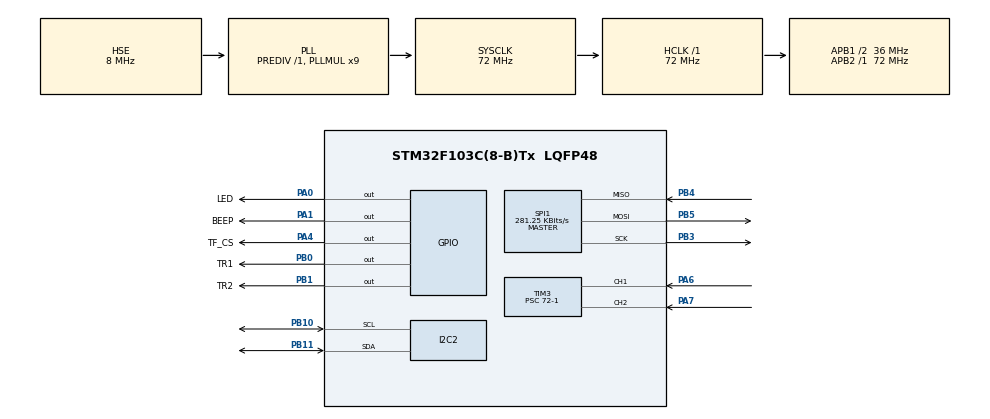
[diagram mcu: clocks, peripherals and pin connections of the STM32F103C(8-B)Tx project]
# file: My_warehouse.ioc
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FATFS._FS_REENTRANT=0
FREERTOS.Mutexes01=peopleMutex,Dynamic,NULL,Available;measureMutex,Dynamic,NULL,Available
FREERTOS.Queues01=EventQueue,10,uint32_t,0,Dynamic,NULL,NULL
FREERTOS.Tasks01=InSensorTask,32,256,StartInSensorTask,Default,NULL,Dynamic,NULL,NULL;OutSensorTask,32,256,StartOutSensorTask,Default,NULL,Dynamic,NULL,NULL;PeopleDisplayTa,24,256,StartPeopleDisplayTask,Default,NULL,Dynamic,NULL,NULL;RTCTask,8,128,StartRTCTask,Default,NULL,Dynamic,NULL,NULL;TFCardTask,16,1024,StartTFCardTask,Default,NULL,Dynamic,NULL,NULL
FREERTOS.configTOTAL_HEAP_SIZE=10240
Mcu.Family=STM32F1
Mcu.Name=STM32F103C(8-B)Tx
Mcu.Package=LQFP48
NVIC.PriorityGroup=NVIC_PRIORITYGROUP_4
NVIC.TIM1_UP_IRQn=true\:15\:0\:false\:false\:true\:false\:false\:true\:true
NVIC.TIM3_IRQn=true\:5\:0\:true\:false\:true\:true\:true\:true\:true
NVIC.TimeBase=TIM1_UP_IRQn
NVIC.TimeBaseIP=TIM1
PA0-WKUP.GPIO_Label=LED
PA0-WKUP.PinState=GPIO_PIN_SET
PA0-WKUP.Signal=GPIO_Output
PA1.GPIO_Label=BEEP
PA1.Signal=GPIO_Output
PA13.Mode=Serial_Wire
PA13.Signal=SYS_JTMS-SWDIO
PA14.Mode=Serial_Wire
PA14.Signal=SYS_JTCK-SWCLK
PA4.GPIO_Label=TF_CS
PA4.GPIO_Speed=GPIO_SPEED_FREQ_HIGH
PA4.PinState=GPIO_PIN_SET
PA4.Signal=GPIO_Output
PA6.Signal=S_TIM3_CH1
PA7.Signal=S_TIM3_CH2
PB0.GPIO_Label=TR1
PB0.GPIO_ModeDefaultOutputPP=GPIO_MODE_OUTPUT_PP
PB0.Signal=GPIO_Output
PB1.GPIO_Label=TR2
PB1.GPIO_ModeDefaultOutputPP=GPIO_MODE_OUTPUT_PP
PB1.Signal=GPIO_Output
PB10.Mode=I2C
PB10.Signal=I2C2_SCL
PB11.Mode=I2C
PB11.Signal=I2C2_SDA
PB3.Mode=Full_Duplex_Master
PB3.Signal=SPI1_SCK
PB4.Mode=Full_Duplex_Master
PB4.Signal=SPI1_MISO
PB5.Mode=Full_Duplex_Master
PB5.Signal=SPI1_MOSI
PD0-OSC_IN.Mode=HSE-External-Oscillator
PD0-OSC_IN.Signal=RCC_OSC_IN
PD1-OSC_OUT.Mode=HSE-External-Oscillator
PD1-OSC_OUT.Signal=RCC_OSC_OUT
ProjectManager.HeapSize=0x200
ProjectManager.StackSize=0x400
ProjectManager.TargetToolchain=MDK-ARM V5.32
RCC.AHBFreq_Value=72000000
RCC.APB1CLKDivider=RCC_HCLK_DIV2
RCC.APB1Freq_Value=36000000
RCC.APB1TimFreq_Value=72000000
RCC.APB2Freq_Value=72000000
RCC.APB2TimFreq_Value=72000000
RCC.HCLKFreq_Value=72000000
RCC.PLLMUL=RCC_PLL_MUL9
RCC.PLLSourceVirtual=RCC_PLLSOURCE_HSE
RCC.RTCClockSelection=RCC_RTCCLKSOURCE_HSE_DIV128
RCC.SYSCLKFreq_VALUE=72000000
RCC.SYSCLKSource=RCC_SYSCLKSOURCE_PLLCLK
RCC.USBFreq_Value=72000000
SH.S_TIM3_CH1.0=TIM3_CH1,Input_Capture1_from_TI1
SH.S_TIM3_CH2.0=TIM3_CH2,Input_Capture2_from_TI2
SPI1.BaudRatePrescaler=SPI_BAUDRATEPRESCALER_256
SPI1.CalculateBaudRate=281.25 KBits/s
SPI1.Direction=SPI_DIRECTION_2LINES
SPI1.Mode=SPI_MODE_MASTER
SPI1.VirtualType=VM_MASTER
TIM3.Channel-Input_Capture1_from_TI1=TIM_CHANNEL_1
TIM3.Channel-Input_Capture2_from_TI2=TIM_CHANNEL_2
TIM3.Prescaler=72-1
VP_FATFS_VS_Generic.Mode=User_defined
VP_FREERTOS_VS_CMSIS_V2.Mode=CMSIS_V2
VP_RTC_No_RTC_Output.Mode=RTC_OUT_NO
VP_RTC_VS_RTC_Activate.Mode=RTC_Enabled
VP_RTC_VS_RTC_Calendar.Mode=RTC_Calendar
VP_SYS_VS_tim1.Mode=TIM1
board=custom

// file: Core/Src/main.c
/* USER CODE BEGIN Header */
/**
  ******************************************************************************
  * @file           : main.c
  * @brief          : Main program body
  ******************************************************************************
  * @attention
  *
  * Copyright (c) 2026 STMicroelectronics.
  * All rights reserved.
  *
  * This software is licensed under terms that can be found in the LICENSE file
  * in the root directory of this software component.
  * If no LICENSE file comes with this software, it is provided AS-IS.
  *
  ******************************************************************************
  */
/* USER CODE END Header */
#include "main.h"
#include "cmsis_os.h"
#include "fatfs.h"

/* USER CODE BEGIN Includes */
#include <string.h>
#include "task.h"
#include "oled_user.h"
/* USER CODE END Includes */

/* USER CODE BEGIN PTD */
typedef struct
{
  uint8_t event;
  int32_t people;
  uint8_t year;
  uint8_t month;
  uint8_t date;
  uint8_t hour;
  uint8_t minute;
  uint8_t second;
} LogItem_t;

typedef struct
{
  uint8_t year;
  uint8_t month;
  uint8_t date;
  uint8_t hour;
  uint8_t minute;
  uint8_t second;
  uint8_t weekday;
} RtcSnapshot_t;
/* USER CODE END PTD */

/* USER CODE BEGIN PD */
#define MAX_PEOPLE                 6

#define EVENT_IN                   1U
#define EVENT_OUT                  2U
#define EVENT_DENIED               3U

#define SENSOR_IN                  0U
#define SENSOR_OUT                 1U
#define SENSOR_ECHO_READY_FLAG     0x00000001U
#define DISTANCE_MIN_CM            2.0f
#define DISTANCE_THRESHOLD_CM      10.0f
#define SENSOR_SAMPLE_PERIOD_MS    120U
#define SENSOR_RELEASE_SAMPLES     2U
#define EVENT_COOLDOWN_MS          600U

/* Change these values before the first programming if another start time is needed. */
#define RTC_SET_YEAR               2026U
#define RTC_SET_MONTH              8U
#define RTC_SET_DATE               1U
#define RTC_SET_HOUR               14U
#define RTC_SET_MINUTE             29U
#define RTC_SET_SECOND             0U
#define RTC_SET_WEEKDAY            RTC_WEEKDAY_SATURDAY
/* Change this value after editing RTC_SET_* to apply the new time once. */
#define RTC_BKP_MAGIC              0xA55CU
#define RTC_BKP_DATE_REGISTER      RTC_BKP_DR2
#define RTC_BKP_WEEKDAY_REGISTER   RTC_BKP_DR3

#define LOG_BUFFER_LENGTH          16U
#define TF_RETRY_PERIOD_MS         5000U
/* Keep this at 0 until the TF module is connected. Change it to 1 to enable logging. */
#define TF_CARD_ENABLED            0U

#define LED_ON()    HAL_GPIO_WritePin(LED_GPIO_Port, LED_Pin, GPIO_PIN_RESET)
#define LED_OFF()   HAL_GPIO_WritePin(LED_GPIO_Port, LED_Pin, GPIO_PIN_SET)
#define BEEP_ON()   HAL_GPIO_WritePin(BEEP_GPIO_Port, BEEP_Pin, GPIO_PIN_SET)
#define BEEP_OFF()  HAL_GPIO_WritePin(BEEP_GPIO_Port, BEEP_Pin, GPIO_PIN_RESET)
/* USER CODE END PD */

I2C_HandleTypeDef hi2c2;

RTC_HandleTypeDef hrtc;

SPI_HandleTypeDef hspi1;

TIM_HandleTypeDef htim3;

/* Definitions for InSensorTask */
osThreadId_t InSensorTaskHandle;
const osThreadAttr_t InSensorTask_attributes = {
  .name = "InSensorTask",
  .stack_size = 256 * 4,
  .priority = (osPriority_t) osPriorityAboveNormal,
};
/* Definitions for OutSensorTask */
osThreadId_t OutSensorTaskHandle;
const osThreadAttr_t OutSensorTask_attributes = {
  .name = "OutSensorTask",
  .stack_size = 256 * 4,
  .priority = (osPriority_t) osPriorityAboveNormal,
};
/* Definitions for PeopleDisplayTa */
osThreadId_t PeopleDisplayTaHandle;
const osThreadAttr_t PeopleDisplayTa_attributes = {
  .name = "PeopleDisplayTa",
  .stack_size = 256 * 4,
  .priority = (osPriority_t) osPriorityNormal,
};
/* Definitions for RTCTask */
osThreadId_t RTCTaskHandle;
const osThreadAttr_t RTCTask_attributes = {
  .name = "RTCTask",
  .stack_size = 128 * 4,
  .priority = (osPriority_t) osPriorityLow,
};
/* Definitions for TFCardTask */
osThreadId_t TFCardTaskHandle;
const osThreadAttr_t TFCardTask_attributes = {
  .name = "TFCardTask",
  .stack_size = 1024 * 4,
  .priority = (osPriority_t) osPriorityBelowNormal,
};
/* Definitions for EventQueue */
osMessageQueueId_t EventQueueHandle;
const osMessageQueueAttr_t EventQueue_attributes = {
  .name = "EventQueue"
};
/* Definitions for peopleMutex */
osMutexId_t peopleMutexHandle;
const osMutexAttr_t peopleMutex_attributes = {
  .name = "peopleMutex"
};
/* Definitions for measureMutex */
osMutexId_t measureMutexHandle;
const osMutexAttr_t measureMutex_attributes = {
  .name = "measureMutex"
};
/* USER CODE BEGIN PV */
static int32_t current_people = 0;

static volatile uint8_t ic_state[2] = {0U, 0U};
static volatile uint16_t ic_rise[2] = {0U, 0U};
static volatile float distance_cm[2] = {-1.0f, -1.0f};

static RtcSnapshot_t rtc_snapshot = {
  (uint8_t)(RTC_SET_YEAR - 2000U),
  (uint8_t)RTC_SET_MONTH,
  (uint8_t)RTC_SET_DATE,
  (uint8_t)RTC_SET_HOUR,
  (uint8_t)RTC_SET_MINUTE,
  (uint8_t)RTC_SET_SECOND,
  (uint8_t)RTC_SET_WEEKDAY
};
static volatile uint32_t rtc_fat_timestamp = 0U;

#if TF_CARD_ENABLED != 0U
static LogItem_t log_buffer[LOG_BUFFER_LENGTH];
static uint8_t log_head = 0U;
static uint8_t log_tail = 0U;
static uint8_t log_count = 0U;
#endif
/* USER CODE END PV */

void SystemClock_Config(void);
static void MX_GPIO_Init(void);
static void MX_RTC_Init(void);
static void MX_SPI1_Init(void);
static void MX_TIM3_Init(void);
static void MX_I2C2_Init(void);
void StartInSensorTask(void *argument);
void StartOutSensorTask(void *argument);
void StartPeopleDisplayTask(void *argument);
void StartRTCTask(void *argument);
void StartTFCardTask(void *argument);

/* USER CODE BEGIN PFP */
static void RTC_SetUserTime(void);
static void RTC_SaveDateToBackup(const RTC_DateTypeDef *date);
static uint8_t RTC_RestoreDateFromBackup(void);
static void RTC_UpdateCachedTime(void);
static void RTC_GetCachedTime(RtcSnapshot_t *snapshot);
static uint32_t RTC_PackFatTime(const RtcSnapshot_t *snapshot);
static const char *RTC_GetWeekdayText(uint8_t weekday);
#if TF_CARD_ENABLED != 0U
static void LogBuffer_Push(const LogItem_t *item);
static uint8_t LogBuffer_Pop(LogItem_t *item);
static char *Text_Append(char *destination, const char *source);
static char *Text_AppendPeople(char *destination, int32_t people);
static uint16_t FormatLogLine(char *line, const RtcSnapshot_t *rtc,
                              const char *event_text, int32_t people);
#endif
static char *Text_AppendTwoDigits(char *destination, uint8_t value);
static void Buzzer_BeepShort(void);
static void DoorLock_Update(int32_t people);
static void Display_Refresh(void);
static void HCSR04_Trig(uint8_t sensor);
static float HCSR04_ReadCm(uint8_t sensor);
static void ProcessSensorSample(uint8_t sensor, uint32_t event,
                                uint8_t *occupied, uint8_t *release_count,
                                uint32_t *last_event_tick);
/* USER CODE END PFP */

/* USER CODE BEGIN 0 */
static uint32_t RTC_PackFatTime(const RtcSnapshot_t *snapshot)
{
  uint32_t full_year = 2000U + snapshot->year;

  if (full_year < 1980U)
  {
    full_year = 1980U;
  }
  if (full_year > 2107U)
  {
    full_year = 2107U;
  }

  return ((full_year - 1980U) << 25)
       | ((uint32_t)snapshot->month << 21)
       | ((uint32_t)snapshot->date << 16)
       | ((uint32_t)snapshot->hour << 11)
       | ((uint32_t)snapshot->minute << 5)
       | ((uint32_t)snapshot->second >> 1);
}

static void RTC_SaveDateToBackup(const RTC_DateTypeDef *date)
{
  uint32_t packed_date = ((uint32_t)date->Year << 9)
                       | ((uint32_t)date->Month << 5)
                       | (uint32_t)date->Date;

  if (HAL_RTCEx_BKUPRead(&hrtc, RTC_BKP_DATE_REGISTER) != packed_date)
  {
    HAL_RTCEx_BKUPWrite(&hrtc, RTC_BKP_DATE_REGISTER, packed_date);
  }
  if (HAL_RTCEx_BKUPRead(&hrtc, RTC_BKP_WEEKDAY_REGISTER) != date->WeekDay)
  {
    HAL_RTCEx_BKUPWrite(&hrtc, RTC_BKP_WEEKDAY_REGISTER, date->WeekDay);
  }
}

static uint8_t RTC_RestoreDateFromBackup(void)
{
  uint32_t packed_date = HAL_RTCEx_BKUPRead(&hrtc, RTC_BKP_DATE_REGISTER);
  uint8_t year = (uint8_t)((packed_date >> 9) & 0x7FU);
  uint8_t month = (uint8_t)((packed_date >> 5) & 0x0FU);
  uint8_t date = (uint8_t)(packed_date & 0x1FU);
  uint8_t weekday = (uint8_t)HAL_RTCEx_BKUPRead(&hrtc,
                                                RTC_BKP_WEEKDAY_REGISTER);

  if ((year > 99U) || (month < 1U) || (month > 12U) ||
      (date < 1U) || (date > 31U) ||
      (weekday < RTC_WEEKDAY_MONDAY) ||
      (weekday > RTC_WEEKDAY_SUNDAY))
  {
    return 0U;
  }

  hrtc.DateToUpdate.Year = year;
  hrtc.DateToUpdate.Month = month;
  hrtc.DateToUpdate.Date = date;
  hrtc.DateToUpdate.WeekDay = weekday;
  return 1U;
}

static void RTC_SetUserTime(void)
{
  RTC_TimeTypeDef time = {0};
  RTC_DateTypeDef date = {0};

  time.Hours = (uint8_t)RTC_SET_HOUR;
  time.Minutes = (uint8_t)RTC_SET_MINUTE;
  time.Seconds = (uint8_t)RTC_SET_SECOND;

  date.WeekDay = RTC_SET_WEEKDAY;
  date.Year = (uint8_t)(RTC_SET_YEAR - 2000U);
  date.Month = (uint8_t)RTC_SET_MONTH;
  date.Date = (uint8_t)RTC_SET_DATE;

  if (HAL_RTC_SetTime(&hrtc, &time, RTC_FORMAT_BIN) != HAL_OK)
  {
    Error_Handler();
  }
  if (HAL_RTC_SetDate(&hrtc, &date, RTC_FORMAT_BIN) != HAL_OK)
  {
    Error_Handler();
  }

  RTC_SaveDateToBackup(&date);
  HAL_RTCEx_BKUPWrite(&hrtc, RTC_BKP_DR1, RTC_BKP_MAGIC);
}

static void RTC_UpdateCachedTime(void)
{
  RTC_TimeTypeDef time = {0};
  RTC_DateTypeDef date = {0};
  RtcSnapshot_t next;

  if (HAL_RTC_GetTime(&hrtc, &time, RTC_FORMAT_BIN) != HAL_OK)
  {
    return;
  }
  /* On STM32F1 the date must be read after the time to unlock the shadow registers. */
  if (HAL_RTC_GetDate(&hrtc, &date, RTC_FORMAT_BIN) != HAL_OK)
  {
    return;
  }

  next.year = date.Year;
  next.month = date.Month;
  next.date = date.Date;
  next.hour = time.Hours;
  next.minute = time.Minutes;
  next.second = time.Seconds;
  next.weekday = date.WeekDay;

  RTC_SaveDateToBackup(&date);

  taskENTER_CRITICAL();
  rtc_snapshot = next;
  rtc_fat_timestamp = RTC_PackFatTime(&next);
  taskEXIT_CRITICAL();
}

static void RTC_GetCachedTime(RtcSnapshot_t *snapshot)
{
  taskENTER_CRITICAL();
  *snapshot = rtc_snapshot;
  taskEXIT_CRITICAL();
}

static const char *RTC_GetWeekdayText(uint8_t weekday)
{
  switch (weekday)
  {
    case RTC_WEEKDAY_MONDAY:    return "MON";
    case RTC_WEEKDAY_TUESDAY:   return "TUE";
    case RTC_WEEKDAY_WEDNESDAY: return "WED";
    case RTC_WEEKDAY_THURSDAY:  return "THU";
    case RTC_WEEKDAY_FRIDAY:    return "FRI";
    case RTC_WEEKDAY_SATURDAY:  return "SAT";
    case RTC_WEEKDAY_SUNDAY:    return "SUN";
    default:                    return "---";
  }
}

uint32_t App_GetFatTimestamp(void)
{
  return rtc_fat_timestamp;
}

#if TF_CARD_ENABLED != 0U
static void LogBuffer_Push(const LogItem_t *item)
{
  taskENTER_CRITICAL();
  if (log_count >= LOG_BUFFER_LENGTH)
  {
    log_tail = (uint8_t)((log_tail + 1U) % LOG_BUFFER_LENGTH);
    log_count--;
  }
  log_buffer[log_head] = *item;
  log_head = (uint8_t)((log_head + 1U) % LOG_BUFFER_LENGTH);
  log_count++;
  taskEXIT_CRITICAL();
}

static uint8_t LogBuffer_Pop(LogItem_t *item)
{
  uint8_t available = 0U;

  taskENTER_CRITICAL();
  if (log_count > 0U)
  {
    *item = log_buffer[log_tail];
    log_tail = (uint8_t)((log_tail + 1U) % LOG_BUFFER_LENGTH);
    log_count--;
    available = 1U;
  }
  taskEXIT_CRITICAL();

  return available;
}

static char *Text_Append(char *destination, const char *source)
{
  while (*source != '\0')
  {
    *destination++ = *source++;
  }
  return destination;
}
#endif

static char *Text_AppendTwoDigits(char *destination, uint8_t value)
{
  *destination++ = (char)('0' + ((value / 10U) % 10U));
  *destination++ = (char)('0' + (value % 10U));
  return destination;
}

#if TF_CARD_ENABLED != 0U
static char *Text_AppendPeople(char *destination, int32_t people)
{
  if (people < 0)
  {
    *destination++ = '-';
    people = -people;
  }

  if (people >= 10)
  {
    *destination++ = (char)('0' + ((people / 10) % 10));
  }
  *destination++ = (char)('0' + (people % 10));
  return destination;
}

static uint16_t FormatLogLine(char *line, const RtcSnapshot_t *rtc,
                              const char *event_text, int32_t people)
{
  char *position = line;

  *position++ = '2';
  *position++ = '0';
  position = Text_AppendTwoDigits(position, rtc->year);
  *position++ = '-';
  position = Text_AppendTwoDigits(position, rtc->month);
  *position++ = '-';
  position = Text_AppendTwoDigits(position, rtc->date);
  *position++ = ' ';
  position = Text_AppendTwoDigits(position, rtc->hour);
  *position++ = ':';
  position = Text_AppendTwoDigits(position, rtc->minute);
  *position++ = ':';
  position = Text_AppendTwoDigits(position, rtc->second);
  *position++ = ',';
  position = Text_Append(position, event_text);
  *position++ = ',';
  position = Text_AppendPeople(position, people);
  *position++ = '\r';
  *position++ = '\n';
  *position = '\0';

  return (uint16_t)(position - line);
}
#endif
/* USER CODE END 0 */

int main(void)
{

  /* MCU Configuration--------------------------------------------------------*/

  /* Reset of all peripherals, Initializes the Flash interface and the Systick. */
  HAL_Init();

  /* Configure the system clock */
  SystemClock_Config();

  /* Initialize all configured peripherals */
  MX_GPIO_Init();
  MX_RTC_Init();
  MX_SPI1_Init();
  MX_TIM3_Init();
  MX_I2C2_Init();
  MX_FATFS_Init();
  /* USER CODE BEGIN 2 */
  LED_OFF();
  BEEP_OFF();
  OLED_Init();
  /* USER CODE END 2 */

  /* Init scheduler */
  osKernelInitialize();
  /* Create the mutex(es) */
  /* creation of peopleMutex */
  peopleMutexHandle = osMutexNew(&peopleMutex_attributes);

  /* creation of measureMutex */
  measureMutexHandle = osMutexNew(&measureMutex_attributes);

  /* Create the queue(s) */
  /* creation of EventQueue */
  EventQueueHandle = osMessageQueueNew (10, sizeof(uint32_t), &EventQueue_attributes);

  /* Create the thread(s) */
  /* creation of InSensorTask */
  InSensorTaskHandle = osThreadNew(StartInSensorTask, NULL, &InSensorTask_attributes);

  /* creation of OutSensorTask */
  OutSensorTaskHandle = osThreadNew(StartOutSensorTask, NULL, &OutSensorTask_attributes);

  /* creation of PeopleDisplayTa */
  PeopleDisplayTaHandle = osThreadNew(StartPeopleDisplayTask, NULL, &PeopleDisplayTa_attributes);

  /* creation of RTCTask */
  RTCTaskHandle = osThreadNew(StartRTCTask, NULL, &RTCTask_attributes);

  /* creation of TFCardTask */
  TFCardTaskHandle = osThreadNew(StartTFCardTask, NULL, &TFCardTask_attributes);

  /* USER CODE BEGIN RTOS_THREADS */
  if ((peopleMutexHandle == NULL) || (measureMutexHandle == NULL) ||
      (EventQueueHandle == NULL) || (InSensorTaskHandle == NULL) ||
      (OutSensorTaskHandle == NULL) || (PeopleDisplayTaHandle == NULL) ||
      (RTCTaskHandle == NULL) || (TFCardTaskHandle == NULL))
  {
    Error_Handler();
  }
  /* USER CODE END RTOS_THREADS */

  /* Start scheduler */
  osKernelStart();

  /* We should never get here as control is now taken by the scheduler */

  /* Infinite loop */
  while (1)
  {

  }
}

void SystemClock_Config(void)
{
  RCC_OscInitTypeDef RCC_OscInitStruct = {0};
  RCC_ClkInitTypeDef RCC_ClkInitStruct = {0};
  RCC_PeriphCLKInitTypeDef PeriphClkInit = {0};

  /** Initializes the RCC Oscillators according to the specified parameters
  * in the RCC_OscInitTypeDef structure.
  */
  RCC_OscInitStruct.OscillatorType = RCC_OSCILLATORTYPE_HSE;
  RCC_OscInitStruct.HSEState = RCC_HSE_ON;
  RCC_OscInitStruct.HSEPredivValue = RCC_HSE_PREDIV_DIV1;
  RCC_OscInitStruct.HSIState = RCC_HSI_ON;
  RCC_OscInitStruct.PLL.PLLState = RCC_PLL_ON;
  RCC_OscInitStruct.PLL.PLLSource = RCC_PLLSOURCE_HSE;
  RCC_OscInitStruct.PLL.PLLMUL = RCC_PLL_MUL9;
  if (HAL_RCC_OscConfig(&RCC_OscInitStruct) != HAL_OK)
  {
    Error_Handler();
  }

  /** Initializes the CPU, AHB and APB buses clocks
  */
  RCC_ClkInitStruct.ClockType = RCC_CLOCKTYPE_HCLK|RCC_CLOCKTYPE_SYSCLK
                              |RCC_CLOCKTYPE_PCLK1|RCC_CLOCKTYPE_PCLK2;
  RCC_ClkInitStruct.SYSCLKSource = RCC_SYSCLKSOURCE_PLLCLK;
  RCC_ClkInitStruct.AHBCLKDivider = RCC_SYSCLK_DIV1;
  RCC_ClkInitStruct.APB1CLKDivider = RCC_HCLK_DIV2;
  RCC_ClkInitStruct.APB2CLKDivider = RCC_HCLK_DIV1;

  if (HAL_RCC_ClockConfig(&RCC_ClkInitStruct, FLASH_LATENCY_2) != HAL_OK)
  {
    Error_Handler();
  }
  PeriphClkInit.PeriphClockSelection = RCC_PERIPHCLK_RTC;
  PeriphClkInit.RTCClockSelection = RCC_RTCCLKSOURCE_HSE_DIV128;
  if (HAL_RCCEx_PeriphCLKConfig(&PeriphClkInit) != HAL_OK)
  {
    Error_Handler();
  }
}

static void MX_I2C2_Init(void)
{

  hi2c2.Instance = I2C2;
  hi2c2.Init.ClockSpeed = 100000;
  hi2c2.Init.DutyCycle = I2C_DUTYCYCLE_2;
  hi2c2.Init.OwnAddress1 = 0;
  hi2c2.Init.AddressingMode = I2C_ADDRESSINGMODE_7BIT;
  hi2c2.Init.DualAddressMode = I2C_DUALADDRESS_DISABLE;
  hi2c2.Init.OwnAddress2 = 0;
  hi2c2.Init.GeneralCallMode = I2C_GENERALCALL_DISABLE;
  hi2c2.Init.NoStretchMode = I2C_NOSTRETCH_DISABLE;
  if (HAL_I2C_Init(&hi2c2) != HAL_OK)
  {
    Error_Handler();
  }

}

static void MX_RTC_Init(void)
{

  RTC_TimeTypeDef sTime = {0};
  RTC_DateTypeDef DateToUpdate = {0};

  /** Initialize RTC Only
  */
  hrtc.Instance = RTC;
  hrtc.Init.AsynchPrediv = RTC_AUTO_1_SECOND;
  hrtc.Init.OutPut = RTC_OUTPUTSOURCE_NONE;
  if (HAL_RTC_Init(&hrtc) != HAL_OK)
  {
    Error_Handler();
  }

  /* USER CODE BEGIN Check_RTC_BKUP */
  if ((HAL_RTCEx_BKUPRead(&hrtc, RTC_BKP_DR1) != RTC_BKP_MAGIC) ||
      (RTC_RestoreDateFromBackup() == 0U))
  {
  /* USER CODE END Check_RTC_BKUP */

  /** Initialize RTC and set the Time and Date
  */
  sTime.Hours = 0x0;
  sTime.Minutes = 0x0;
  sTime.Seconds = 0x0;

  if (HAL_RTC_SetTime(&hrtc, &sTime, RTC_FORMAT_BCD) != HAL_OK)
  {
    Error_Handler();
  }
  DateToUpdate.WeekDay = RTC_WEEKDAY_MONDAY;
  DateToUpdate.Month = RTC_MONTH_JANUARY;
  DateToUpdate.Date = 0x1;
  DateToUpdate.Year = 0x0;

  if (HAL_RTC_SetDate(&hrtc, &DateToUpdate, RTC_FORMAT_BCD) != HAL_OK)
  {
    Error_Handler();
  }
  /* USER CODE BEGIN RTC_Init 2 */
    RTC_SetUserTime();
  }
  /* USER CODE END RTC_Init 2 */

}

static void MX_SPI1_Init(void)
{

  /* SPI1 parameter configuration*/
  hspi1.Instance = SPI1;
  hspi1.Init.Mode = SPI_MODE_MASTER;
  hspi1.Init.Direction = SPI_DIRECTION_2LINES;
  hspi1.Init.DataSize = SPI_DATASIZE_8BIT;
  hspi1.Init.CLKPolarity = SPI_POLARITY_LOW;
  hspi1.Init.CLKPhase = SPI_PHASE_1EDGE;
  hspi1.Init.NSS = SPI_NSS_SOFT;
  hspi1.Init.BaudRatePrescaler = SPI_BAUDRATEPRESCALER_256;
  hspi1.Init.FirstBit = SPI_FIRSTBIT_MSB;
  hspi1.Init.TIMode = SPI_TIMODE_DISABLE;
  hspi1.Init.CRCCalculation = SPI_CRCCALCULATION_DISABLE;
  hspi1.Init.CRCPolynomial = 10;
  if (HAL_SPI_Init(&hspi1) != HAL_OK)
  {
    Error_Handler();
  }

}

static void MX_TIM3_Init(void)
{

  TIM_MasterConfigTypeDef sMasterConfig = {0};
  TIM_IC_InitTypeDef sConfigIC = {0};

  htim3.Instance = TIM3;
  htim3.Init.Prescaler = 72-1;
  htim3.Init.CounterMode = TIM_COUNTERMODE_UP;
  htim3.Init.Period = 65535;
  htim3.Init.ClockDivision = TIM_CLOCKDIVISION_DIV1;
  htim3.Init.AutoReloadPreload = TIM_AUTORELOAD_PRELOAD_DISABLE;
  if (HAL_TIM_IC_Init(&htim3) != HAL_OK)
  {
    Error_Handler();
  }
  sMasterConfig.MasterOutputTrigger = TIM_TRGO_RESET;
  sMasterConfig.MasterSlaveMode = TIM_MASTERSLAVEMODE_DISABLE;
  if (HAL_TIMEx_MasterConfigSynchronization(&htim3, &sMasterConfig) != HAL_OK)
  {
    Error_Handler();
  }
  sConfigIC.ICPolarity = TIM_INPUTCHANNELPOLARITY_RISING;
  sConfigIC.ICSelection = TIM_ICSELECTION_DIRECTTI;
  sConfigIC.ICPrescaler = TIM_ICPSC_DIV1;
  sConfigIC.ICFilter = 0;
  if (HAL_TIM_IC_ConfigChannel(&htim3, &sConfigIC, TIM_CHANNEL_1) != HAL_OK)
  {
    Error_Handler();
  }
  if (HAL_TIM_IC_ConfigChannel(&htim3, &sConfigIC, TIM_CHANNEL_2) != HAL_OK)
  {
    Error_Handler();
  }

}

static void MX_GPIO_Init(void)
{
  GPIO_InitTypeDef GPIO_InitStruct = {0};

  /* GPIO Ports Clock Enable */
  __HAL_RCC_GPIOD_CLK_ENABLE();
  __HAL_RCC_GPIOA_CLK_ENABLE();
  __HAL_RCC_GPIOB_CLK_ENABLE();

  /*Configure GPIO pin Output Level */
  HAL_GPIO_WritePin(GPIOA, LED_Pin|TF_CS_Pin, GPIO_PIN_SET);

  /*Configure GPIO pin Output Level */
  HAL_GPIO_WritePin(BEEP_GPIO_Port, BEEP_Pin, GPIO_PIN_RESET);

  /*Configure GPIO pin Output Level */
  HAL_GPIO_WritePin(GPIOB, TR1_Pin|TR2_Pin, GPIO_PIN_RESET);

  /*Configure GPIO pins : LED_Pin BEEP_Pin */
  GPIO_InitStruct.Pin = LED_Pin|BEEP_Pin;
  GPIO_InitStruct.Mode = GPIO_MODE_OUTPUT_PP;
  GPIO_InitStruct.Pull = GPIO_NOPULL;
  GPIO_InitStruct.Speed = GPIO_SPEED_FREQ_LOW;
  HAL_GPIO_Init(GPIOA, &GPIO_InitStruct);

  /*Configure GPIO pin : TF_CS_Pin */
  GPIO_InitStruct.Pin = TF_CS_Pin;
  GPIO_InitStruct.Mode = GPIO_MODE_OUTPUT_PP;
  GPIO_InitStruct.Pull = GPIO_NOPULL;
  GPIO_InitStruct.Speed = GPIO_SPEED_FREQ_HIGH;
  HAL_GPIO_Init(TF_CS_GPIO_Port, &GPIO_InitStruct);

  /*Configure GPIO pins : TR1_Pin TR2_Pin */
  GPIO_InitStruct.Pin = TR1_Pin|TR2_Pin;
  GPIO_InitStruct.Mode = GPIO_MODE_OUTPUT_PP;
  GPIO_InitStruct.Pull = GPIO_NOPULL;
  GPIO_InitStruct.Speed = GPIO_SPEED_FREQ_LOW;
  HAL_GPIO_Init(GPIOB, &GPIO_InitStruct);

}

/* USER CODE BEGIN 4 */
static void Buzzer_BeepShort(void)
{
  BEEP_ON();
  osDelay(80U);
  BEEP_OFF();
}

static void DoorLock_Update(int32_t people)
{
  if (people >= MAX_PEOPLE)
  {
    LED_ON();
  }
  else
  {
    LED_OFF();
  }
}

static void Display_Refresh(void)
{
  char people_line[12] = "People: 0/5";
  char time_line[9];
  char date_line[11];
  int32_t people;
  RtcSnapshot_t rtc;

  if (osMutexAcquire(peopleMutexHandle, osWaitForever) != osOK)
  {
    return;
  }
  people = current_people;
  (void)osMutexRelease(peopleMutexHandle);
  RTC_GetCachedTime(&rtc);

  OLED_Clear();
  people_line[8] = (char)('0' + (people % 10));
  people_line[10] = (char)('0' + MAX_PEOPLE);
  OLED_ShowString(9U, 0U, people_line);

  (void)Text_AppendTwoDigits(&time_line[0], rtc.hour);
  time_line[2] = ':';
  (void)Text_AppendTwoDigits(&time_line[3], rtc.minute);
  time_line[5] = ':';
  (void)Text_AppendTwoDigits(&time_line[6], rtc.second);
  time_line[8] = '\0';
  OLED_ShowString2x(18U, 30U, time_line);

  date_line[0] = '2';
  date_line[1] = '0';
  (void)Text_AppendTwoDigits(&date_line[2], rtc.year);
  date_line[4] = '/';
  (void)Text_AppendTwoDigits(&date_line[5], rtc.month);
  date_line[7] = '/';
  (void)Text_AppendTwoDigits(&date_line[8], rtc.date);
  date_line[10] = '\0';
  OLED_ShowString(0U, 7U, date_line);
  OLED_ShowString(66U, 7U, RTC_GetWeekdayText(rtc.weekday));

  OLED_Refresh();
}

static void HCSR04_Trig(uint8_t sensor)
{
  GPIO_TypeDef *port = (sensor == SENSOR_IN) ? TR1_GPIO_Port : TR2_GPIO_Port;
  uint16_t pin = (sensor == SENSOR_IN) ? TR1_Pin : TR2_Pin;
  volatile uint32_t delay_count;

  HAL_GPIO_WritePin(port, pin, GPIO_PIN_RESET);
  taskENTER_CRITICAL();
  HAL_GPIO_WritePin(port, pin, GPIO_PIN_SET);
  for (delay_count = 0U; delay_count < 900U; delay_count++)
  {
    __NOP();
  }
  HAL_GPIO_WritePin(port, pin, GPIO_PIN_RESET);
  taskEXIT_CRITICAL();
}

static float HCSR04_ReadCm(uint8_t sensor)
{
  uint32_t channel = (sensor == SENSOR_IN) ? TIM_CHANNEL_1 : TIM_CHANNEL_2;
  uint32_t flags;
  float result = -1.0f;

  if (osMutexAcquire(measureMutexHandle, osWaitForever) != osOK)
  {
    return -1.0f;
  }

  (void)osThreadFlagsClear(SENSOR_ECHO_READY_FLAG);
  ic_state[sensor] = 0U;
  distance_cm[sensor] = -1.0f;
  __HAL_TIM_SET_COUNTER(&htim3, 0U);
  __HAL_TIM_SET_CAPTUREPOLARITY(&htim3, channel,
                                TIM_INPUTCHANNELPOLARITY_RISING);

  if (HAL_TIM_IC_Start_IT(&htim3, channel) == HAL_OK)
  {
    HCSR04_Trig(sensor);
    flags = osThreadFlagsWait(SENSOR_ECHO_READY_FLAG, osFlagsWaitAny, 60U);
    if ((flags & SENSOR_ECHO_READY_FLAG) != 0U)
    {
      result = distance_cm[sensor];
    }
    (void)HAL_TIM_IC_Stop_IT(&htim3, channel);
  }

  (void)osMutexRelease(measureMutexHandle);
  return result;
}

static void ProcessSensorSample(uint8_t sensor, uint32_t event,
                                uint8_t *occupied, uint8_t *release_count,
                                uint32_t *last_event_tick)
{
  float distance = HCSR04_ReadCm(sensor);
  uint32_t now = osKernelGetTickCount();
  uint32_t cooldown_ticks = (EVENT_COOLDOWN_MS * osKernelGetTickFreq()) / 1000U;
  uint8_t is_near = ((distance >= DISTANCE_MIN_CM) &&
                     (distance < DISTANCE_THRESHOLD_CM)) ? 1U : 0U;

  if (is_near != 0U)
  {
    *release_count = 0U;
    if ((*occupied == 0U) && ((now - *last_event_tick) >= cooldown_ticks))
    {
      uint32_t event_to_send = event;

      *occupied = 1U;
      *last_event_tick = now;

      if (event == EVENT_IN)
      {
        int32_t people;

        if (osMutexAcquire(peopleMutexHandle, osWaitForever) != osOK)
        {
          return;
        }
        people = current_people;
        (void)osMutexRelease(peopleMutexHandle);

        if (people >= MAX_PEOPLE)
        {
          event_to_send = EVENT_DENIED;
          DoorLock_Update(people);
          Buzzer_BeepShort();
        }
      }

      (void)osMessageQueuePut(EventQueueHandle, &event_to_send, 0U, 0U);
    }
  }
  else if (*occupied != 0U)
  {
    (*release_count)++;
    if (*release_count >= SENSOR_RELEASE_SAMPLES)
    {
      *occupied = 0U;
      *release_count = 0U;
    }
  }
}

void HAL_TIM_IC_CaptureCallback(TIM_HandleTypeDef *htim)
{
  uint8_t sensor;
  uint32_t channel;
  osThreadId_t target_task;
  uint16_t falling;
  uint16_t difference;

  if (htim->Instance != TIM3)
  {
    return;
  }

  if (htim->Channel == HAL_TIM_ACTIVE_CHANNEL_1)
  {
    sensor = SENSOR_IN;
    channel = TIM_CHANNEL_1;
    target_task = InSensorTaskHandle;
  }
  else if (htim->Channel == HAL_TIM_ACTIVE_CHANNEL_2)
  {
    sensor = SENSOR_OUT;
    channel = TIM_CHANNEL_2;
    target_task = OutSensorTaskHandle;
  }
  else
  {
    return;
  }

  if (ic_state[sensor] == 0U)
  {
    ic_rise[sensor] = (uint16_t)HAL_TIM_ReadCapturedValue(htim, channel);
    ic_state[sensor] = 1U;
    __HAL_TIM_SET_CAPTUREPOLARITY(htim, channel,
                                  TIM_INPUTCHANNELPOLARITY_FALLING);
  }
  else
  {
    falling = (uint16_t)HAL_TIM_ReadCapturedValue(htim, channel);
    difference = (uint16_t)(falling - ic_rise[sensor]);
    distance_cm[sensor] = ((float)difference * 0.0343f) / 2.0f;
    ic_state[sensor] = 0U;
    __HAL_TIM_SET_CAPTUREPOLARITY(htim, channel,
                                  TIM_INPUTCHANNELPOLARITY_RISING);
    if (target_task != NULL)
    {
      (void)osThreadFlagsSet(target_task, SENSOR_ECHO_READY_FLAG);
    }
  }
}
/* USER CODE END 4 */

void StartInSensorTask(void *argument)
{
  /* USER CODE BEGIN 5 */
  uint8_t occupied = 0U;
  uint8_t release_count = 0U;
  uint32_t last_event_tick = 0U;

  /* Infinite loop */
  for(;;)
  {
    ProcessSensorSample(SENSOR_IN, EVENT_IN, &occupied,
                        &release_count, &last_event_tick);
    osDelay(SENSOR_SAMPLE_PERIOD_MS);
  }
  /* USER CODE END 5 */
}

void StartOutSensorTask(void *argument)
{
  /* USER CODE BEGIN StartOutSensorTask */
  uint8_t occupied = 0U;
  uint8_t release_count = 0U;
  uint32_t last_event_tick = 0U;

  /* Infinite loop */
  for(;;)
  {
    ProcessSensorSample(SENSOR_OUT, EVENT_OUT, &occupied,
                        &release_count, &last_event_tick);
    osDelay(SENSOR_SAMPLE_PERIOD_MS);
  }
  /* USER CODE END StartOutSensorTask */
}

void StartPeopleDisplayTask(void *argument)
{
  /* USER CODE BEGIN StartPeopleDisplayTask */
  uint32_t event;
#if TF_CARD_ENABLED != 0U
  LogItem_t log;
#endif

  /* Infinite loop */
  for(;;)
  {
    if (osMessageQueueGet(EventQueueHandle, &event, NULL, 200U) == osOK)
    {
      int32_t people;
#if TF_CARD_ENABLED != 0U
      RtcSnapshot_t rtc;
#endif

      if (osMutexAcquire(peopleMutexHandle, osWaitForever) == osOK)
      {
        if ((event == EVENT_IN) && (current_people < MAX_PEOPLE))
        {
          current_people++;
        }
        else if ((event == EVENT_OUT) && (current_people > 0))
        {
          current_people--;
        }
        people = current_people;
        DoorLock_Update(people);
        (void)osMutexRelease(peopleMutexHandle);

#if TF_CARD_ENABLED != 0U
        RTC_GetCachedTime(&rtc);
        log.event = (uint8_t)event;
        log.people = people;
        log.year = rtc.year;
        log.month = rtc.month;
        log.date = rtc.date;
        log.hour = rtc.hour;
        log.minute = rtc.minute;
        log.second = rtc.second;
        LogBuffer_Push(&log);
#endif
      }
    }

    Display_Refresh();
  }
  /* USER CODE END StartPeopleDisplayTask */
}

void StartRTCTask(void *argument)
{
  /* USER CODE BEGIN StartRTCTask */
  /* Infinite loop */
  for(;;)
  {
    RTC_UpdateCachedTime();
    osDelay(1000U);
  }
  /* USER CODE END StartRTCTask */
}

void StartTFCardTask(void *argument)
{
  /* USER CODE BEGIN StartTFCardTask */
#if TF_CARD_ENABLED == 0U
  for (;;)
  {
    osDelay(1000U);
  }
#else
  FRESULT result;
  UINT bytes_written;
  uint16_t line_length;
  char line[128];
  uint8_t boot_recorded = 0U;

  osDelay(1500U);

  /* Infinite loop */
  for(;;)
  {
    result = f_mount(&USERFatFS, USERPath, 1U);
    if (result == FR_OK)
    {
      if (boot_recorded == 0U)
      {
        RtcSnapshot_t rtc;
        int32_t people;

        RTC_GetCachedTime(&rtc);
        if (osMutexAcquire(peopleMutexHandle, osWaitForever) == osOK)
        {
          people = current_people;
          (void)osMutexRelease(peopleMutexHandle);
        }
        else
        {
          people = 0;
        }
        result = f_open(&USERFile, "boot.txt", FA_OPEN_ALWAYS | FA_WRITE);
        if (result == FR_OK)
        {
          (void)f_lseek(&USERFile, f_size(&USERFile));
          line_length = FormatLogLine(line, &rtc, "BOOT", people);
          result = f_write(&USERFile, line, line_length, &bytes_written);
          if (result == FR_OK)
          {
            result = f_sync(&USERFile);
          }
          (void)f_close(&USERFile);
          if (result == FR_OK)
          {
            boot_recorded = 1U;
          }
        }
      }

      result = f_open(&USERFile, "log.csv", FA_OPEN_ALWAYS | FA_WRITE);
      if (result == FR_OK)
      {
        LogItem_t item;
        int32_t people;
        RtcSnapshot_t rtc;

        if (f_size(&USERFile) == 0U)
        {
          const char *header = "time,event,people\r\n";
          result = f_write(&USERFile, header, strlen(header), &bytes_written);
        }
        if (result == FR_OK)
        {
          result = f_lseek(&USERFile, f_size(&USERFile));
        }

        while ((result == FR_OK) && (LogBuffer_Pop(&item) != 0U))
        {
          const char *event_text = (item.event == EVENT_IN) ? "IN" :
                                   (item.event == EVENT_OUT) ? "OUT" : "DENIED";
          RtcSnapshot_t item_time;

          item_time.year = item.year;
          item_time.month = item.month;
          item_time.date = item.date;
          item_time.hour = item.hour;
          item_time.minute = item.minute;
          item_time.second = item.second;
          line_length = FormatLogLine(line, &item_time, event_text, item.people);
          result = f_write(&USERFile, line, line_length, &bytes_written);
        }

        if ((result == FR_OK) &&
            (osMutexAcquire(peopleMutexHandle, osWaitForever) == osOK))
        {
          people = current_people;
          (void)osMutexRelease(peopleMutexHandle);
          RTC_GetCachedTime(&rtc);
          line_length = FormatLogLine(line, &rtc, "STAT", people);
          result = f_write(&USERFile, line, line_length, &bytes_written);
        }

        if (result == FR_OK)
        {
          (void)f_sync(&USERFile);
        }
        (void)f_close(&USERFile);
      }
    }

    /* With no TF module present this task simply retries every five seconds. */
    osDelay(TF_RETRY_PERIOD_MS);
  }
#endif
  /* USER CODE END StartTFCardTask */
}

void HAL_TIM_PeriodElapsedCallback(TIM_HandleTypeDef *htim)
{
  if (htim->Instance == TIM1)
  {
    HAL_IncTick();
  }
}

void Error_Handler(void)
{
  __disable_irq();
  while (1)
  {
  }
}
